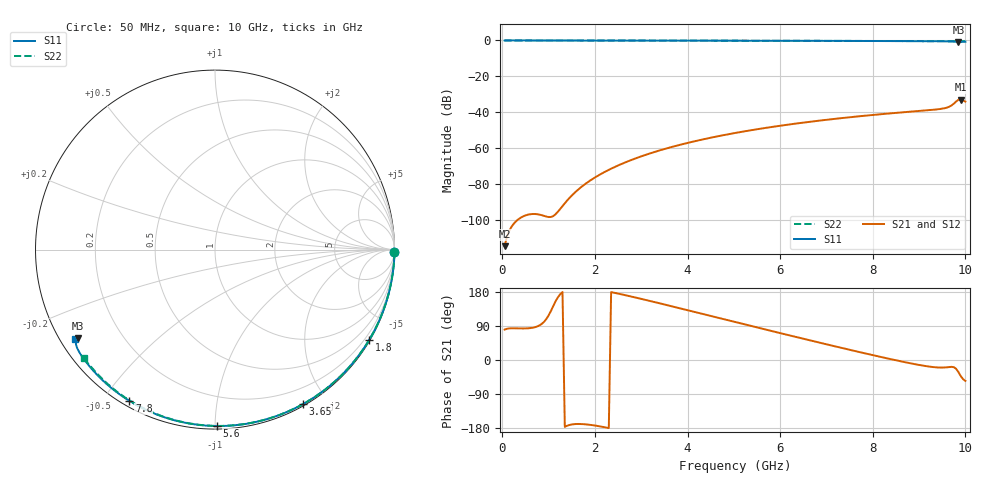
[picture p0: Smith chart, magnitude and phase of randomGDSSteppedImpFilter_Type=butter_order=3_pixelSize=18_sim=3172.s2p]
! freq	dB(S11)	phase(S11)	dB(S12)	phase(S12)
!  dB(S21)	phase(S21)	dB(S22)	phase(S22)
!S-par simulation data
#  GHz  S  DB  R 50
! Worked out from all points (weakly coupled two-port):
!   200 points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, 50 MHz to 10 GHz, reference 50 ohm
!   highest |S21| = -32.99 dB at 9.9 GHz (marker M1); lowest = -114.8 dB at 50 MHz (marker M2)
!   lowest |S11| = -0.8 dB at 9.85 GHz (marker M3), VSWR 20.93, Z = 2.6 - j14.8 ohm
!   |S11| at or under -10 dB: nowhere
!   |S22| runs from -0.5 to 0.0 dB; largest |S21 - S12| = 0
!   S11 on the Smith chart (normalised r, x): 50 MHz: open; 1.8 GHz: 0.03, -3.67; 3.65 GHz: 0.02, -1.72; 5.6 GHz: 0.02, -1.01; 7.8 GHz: 0.02, -0.58; 10 GHz: 0.04, -0.29
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0.05  -0.00 -0.9  -114.82 80.3  -114.82 80.3  -0.00 -0.8
0.9  -0.02 -15.4  -97.89 100.5  -97.89 100.5  -0.02 -14.5
1.75  -0.04 -29.7  -80.90 -169.3  -80.90 -169.3  -0.04 -28.0
1.8  -0.04 -30.5  -79.93 -169.8  -79.93 -169.8  -0.04 -28.8
2.1  -0.05 -35.5  -74.97 -174.9  -74.97 -174.9  -0.04 -33.5
2.5  -0.05 -42.0  -69.78 175.3  -69.78 175.3  -0.05 -39.7
2.9  -0.06 -48.5  -65.61 164.2  -65.61 164.2  -0.06 -45.8
3.4  -0.08 -56.4  -61.35 149.5  -61.35 149.5  -0.07 -53.3
3.65  -0.08 -60.3  -59.52 142.1  -59.52 142.1  -0.08 -57.0
4.3  -0.10 -70.2  -55.40 122.4  -55.40 122.4  -0.09 -66.4
5.05  -0.13 -81.4  -51.54 99.6  -51.54 99.6  -0.12 -77.0
5.6  -0.15 -89.3  -49.15 83.0  -49.15 83.0  -0.14 -84.5
6.7  -0.20 -104.7  -45.20 50.2  -45.20 50.2  -0.19 -99.1
7.8  -0.28 -119.5  -42.08 18.4  -42.08 18.4  -0.26 -113.2
8.35  -0.33 -126.9  -40.76 3.2  -40.76 3.2  -0.31 -120.1
9.3  -0.42 -139.6  -38.70 -18.7  -38.70 -18.7  -0.40 -131.8
9.55  -0.47 -143.3  -37.83 -19.8  -37.83 -19.8  -0.43 -134.8
9.65  -0.52 -144.9  -37.01 -18.6  -37.01 -18.6  -0.44 -136.1
9.7  -0.56 -145.7  -36.29 -18.1  -36.29 -18.1  -0.44 -136.7
9.85  -0.83 -147.0  -33.12 -32.0  -33.12 -32.0  -0.45 -138.5
9.9  -0.83 -146.8  -32.99 -42.6  -32.99 -42.6  -0.45 -139.1
10  -0.69 -147.5  -34.11 -55.1  -34.11 -55.1  -0.46 -140.4
